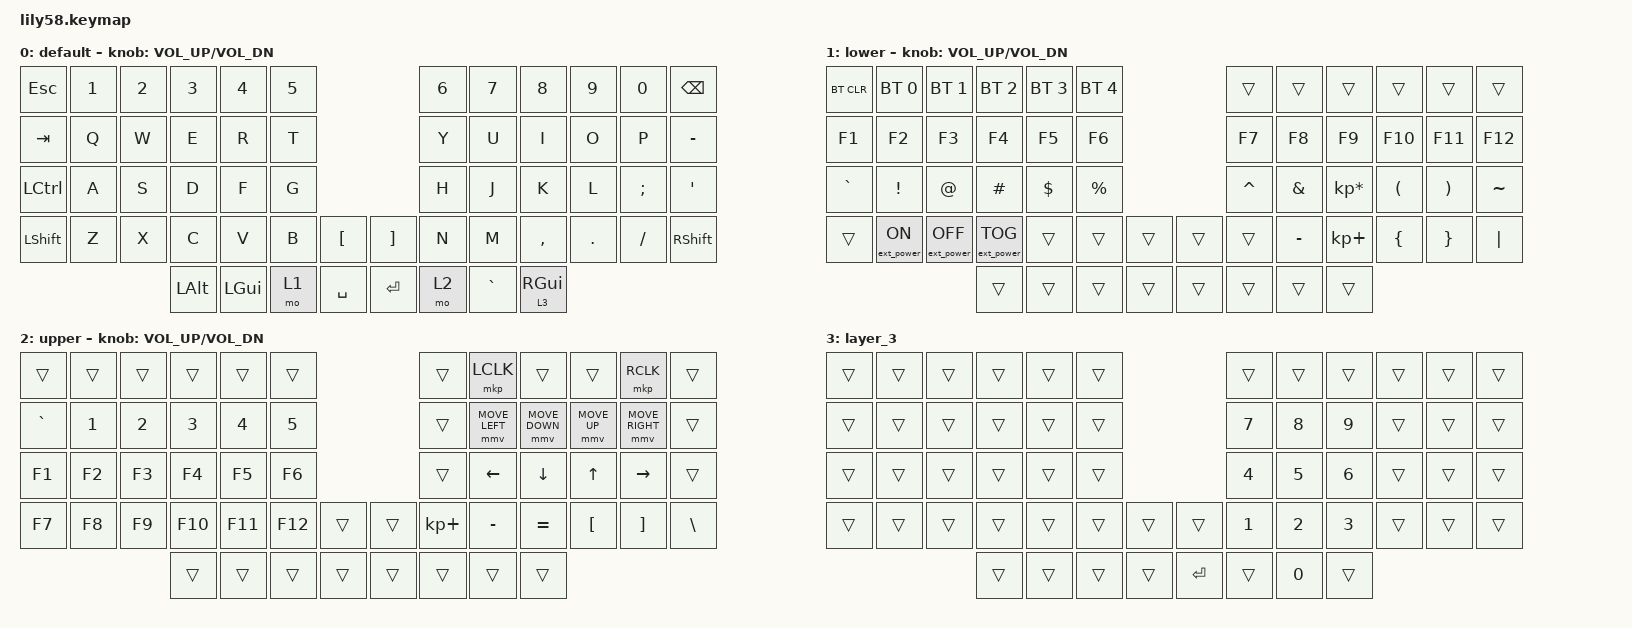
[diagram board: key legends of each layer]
/*
 * Copyright (c) 2020 The ZMK Contributors
 *
 * SPDX-License-Identifier: MIT
 */

#include <behaviors/mouse_keys.dtsi>
#include <behaviors.dtsi>
#include <dt-bindings/zmk/bt.h>
#include <dt-bindings/zmk/ext_power.h>
#include <dt-bindings/zmk/keys.h>
#include <dt-bindings/zmk/mouse.h>

/ {
    keymap {
        compatible = "zmk,keymap";

        default_layer {
            // ------------------------------------------------------------------------------------------------------------
            // |  ESC  |  1  |  2  |  3   |  4   |  5   |                   |  6   |  7    |  8    |  9   |   0   |   `   |
            // |  TAB  |  Q  |  W  |  E   |  R   |  T   |                   |  Y   |  U    |  I    |  O   |   P   |   -   |
            // |  CTRL |  A  |  S  |  D   |  F   |  G   |                   |  H   |  J    |  K    |  L   |   ;   |   '   |
            // | SHIFT |  Z  |  X  |  C   |  V   |  B   |   "["  |  |  "]"  |  N   |  M    |  ,    |  .   |   /   | SHIFT |
            //                     | ALT  | GUI  | LOWER|  SPACE |  | ENTER | RAISE| BSPC  | GUI   |

            bindings = <
&kp ESC    &kp N1  &kp N2  &kp N3    &kp N4    &kp N5                         &kp N6  &kp N7     &kp N8      &kp N9   &kp N0    &kp BSPC
&kp TAB    &kp Q   &kp W   &kp E     &kp R     &kp T                          &kp Y   &kp U      &kp I       &kp O    &kp P     &kp MINUS
&kp LCTRL  &kp A   &kp S   &kp D     &kp F     &kp G                          &kp H   &kp J      &kp K       &kp L    &kp SEMI  &kp SQT
&kp LSHFT  &kp Z   &kp X   &kp C     &kp V     &kp B   &kp LBKT     &kp RBKT  &kp N   &kp M      &kp COMMA   &kp DOT  &kp FSLH  &kp RSHFT
                           &kp LALT  &kp LGUI  &mo 1   &kp SPACE    &kp RET   &mo 2   &kp GRAVE  &lt 3 RGUI
            >;

            display-name = "default";
            sensor-bindings = <&inc_dec_kp C_VOL_UP C_VOL_DN>;
        };

        lower_layer {
            // ------------------------------------------------------------------------------------------------------------
            // | BTCLR | BT1 | BT2 |  BT3 |  BT4 |  BT5 |                   |      |       |       |      |       |       |
            // |  F1   |  F2 |  F3 |  F4  |  F5  |  F6  |                   |  F7  |  F8   |  F9   |  F10 |  F11  |  F12  |
            // |   `   |  !  |  @  |  #   |  $   |  %   |                   |  ^   |  &    |  *    |  (   |   )   |   ~   |
            // |       |     |     |      |      |      |        |  |       |      |  _    |  +    |  {   |   }   |  "|"  |
            //                     |      |      |      |        |  |       |      |       |       |

            bindings = <
&bt BT_CLR  &bt BT_SEL 0      &bt BT_SEL 1       &bt BT_SEL 2       &bt BT_SEL 3  &bt BT_SEL 4                    &trans     &trans     &trans           &trans    &trans    &trans
&kp F1      &kp F2            &kp F3             &kp F4             &kp F5        &kp F6                          &kp F7     &kp F8     &kp F9           &kp F10   &kp F11   &kp F12
&kp GRAVE   &kp EXCL          &kp AT             &kp HASH           &kp DOLLAR    &kp PRCNT                       &kp CARET  &kp AMPS   &kp KP_MULTIPLY  &kp LPAR  &kp RPAR  &kp TILDE
&trans      &ext_power EP_ON  &ext_power EP_OFF  &ext_power EP_TOG  &trans        &trans        &trans    &trans  &trans     &kp MINUS  &kp KP_PLUS      &kp LBRC  &kp RBRC  &kp PIPE
                                                 &trans             &trans        &trans        &trans    &trans  &trans     &trans     &trans
            >;

            display-name = "lower";
            sensor-bindings = <&inc_dec_kp C_VOL_UP C_VOL_DN>;
        };

        raise_layer {
            // ------------------------------------------------------------------------------------------------------------
            // |       |     |     |      |      |      |                   |      |       |       |      |       |       |
            // |   `   |  1  |  2  |  3   |  4   |  5   |                   |  6   |   7   |   8   |  9   |   0   |       |
            // |   F1  |  F2 |  F3 |  F4  |  F5  |  F6  |                   |      |   <-  |   v   |  ^   |  ->   |       |
            // |   F7  |  F8 |  F9 |  F10 |  F11 |  F12 |        |  |       |  +   |   -   |   =   |  [   |   ]   |   \   |
            //                     |      |      |      |        |  |       |      |       |       |

            bindings = <
&trans     &trans  &trans  &trans   &trans   &trans                     &trans       &mkp LCLK       &trans          &trans        &mkp RCLK        &trans
&kp GRAVE  &kp N1  &kp N2  &kp N3   &kp N4   &kp N5                     &trans       &mmv MOVE_LEFT  &mmv MOVE_DOWN  &mmv MOVE_UP  &mmv MOVE_RIGHT  &trans
&kp F1     &kp F2  &kp F3  &kp F4   &kp F5   &kp F6                     &trans       &kp LEFT        &kp DOWN        &kp UP        &kp RIGHT        &trans
&kp F7     &kp F8  &kp F9  &kp F10  &kp F11  &kp F12  &trans    &trans  &kp KP_PLUS  &kp MINUS       &kp EQUAL       &kp LBKT      &kp RBKT         &kp BSLH
                           &trans   &trans   &trans   &trans    &trans  &trans       &trans          &trans
            >;

            display-name = "upper";
            sensor-bindings = <&inc_dec_kp C_VOL_UP C_VOL_DN>;
        };

        layer_3 {
            bindings = <
&trans  &trans  &trans  &trans  &trans  &trans                     &trans  &trans  &trans  &trans  &trans  &trans
&trans  &trans  &trans  &trans  &trans  &trans                     &kp N7  &kp N8  &kp N9  &trans  &trans  &trans
&trans  &trans  &trans  &trans  &trans  &trans                     &kp N4  &kp N5  &kp N6  &trans  &trans  &trans
&trans  &trans  &trans  &trans  &trans  &trans  &trans    &trans   &kp N1  &kp N2  &kp N3  &trans  &trans  &trans
                        &trans  &trans  &trans  &trans    &kp RET  &trans  &kp N0  &trans
            >;
        };
    };
};
